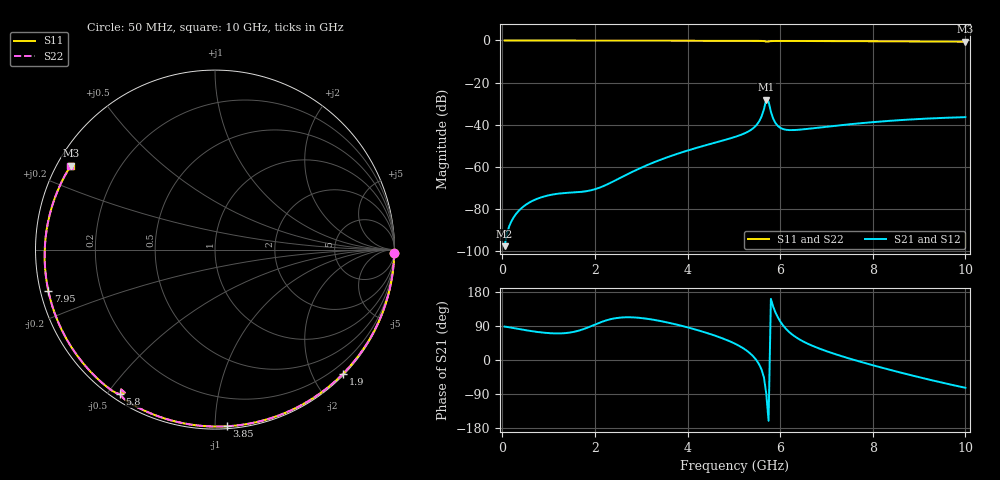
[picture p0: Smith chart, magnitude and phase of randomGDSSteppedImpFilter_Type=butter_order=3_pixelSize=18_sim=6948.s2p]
! freq	dB(S11)	phase(S11)	dB(S12)	phase(S12)
!  dB(S21)	phase(S21)	dB(S22)	phase(S22)
!S-par simulation data
#  GHz  S  DB  R 50
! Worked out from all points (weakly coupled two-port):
!   200 points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, 50 MHz to 10 GHz, reference 50 ohm
!   highest |S21| = -28.09 dB at 5.7 GHz (marker M1); lowest = -97.6 dB at 50 MHz (marker M2)
!   lowest |S11| = -0.6 dB at 10 GHz (marker M3), VSWR 27.59, Z = 1.94 + j13.4 ohm
!   |S11| at or under -10 dB: nowhere
!   |S22| runs from -0.6 to 0.0 dB; largest |S21 - S12| = 0
!   S11 on the Smith chart (normalised r, x): 50 MHz: open; 1.9 GHz: 0.02, -2.47; 3.85 GHz: 0.01, -1.07; 5.8 GHz: 0.02, -0.54; 7.95 GHz: 0.02, -0.12; 10 GHz: 0.04, +0.27
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0.05  -0.01 -1.1  -97.63 88.2  -97.63 88.2  -0.01 -1.1
0.4  -0.02 -9.4  -79.87 80.8  -79.87 80.8  -0.02 -9.4
0.65  -0.02 -15.3  -76.15 75.9  -76.15 75.9  -0.02 -15.3
1  -0.03 -23.5  -73.50 71.0  -73.50 71.0  -0.03 -23.5
1.75  -0.05 -40.7  -71.74 81.3  -71.74 81.3  -0.05 -40.7
1.9  -0.06 -44.1  -71.19 88.4  -71.19 88.4  -0.06 -44.1
3.4  -0.10 -76.7  -56.75 103.2  -56.75 103.2  -0.10 -76.7
3.85  -0.12 -86.1  -53.29 90.9  -53.29 90.9  -0.12 -86.0
5.05  -0.17 -110.2  -45.60 41.5  -45.60 41.5  -0.17 -110.1
5.35  -0.19 -116.2  -42.73 17.6  -42.73 17.6  -0.19 -116.1
5.5  -0.20 -119.3  -39.87 -2.7  -39.87 -2.7  -0.20 -119.2
5.6  -0.24 -121.6  -36.01 -25.6  -36.01 -25.6  -0.24 -121.5
5.7  -0.56 -123.9  -28.09 -88.9  -28.09 -88.9  -0.56 -123.8
5.75  -0.52 -122.2  -29.04 -160.4  -29.04 -160.4  -0.52 -122.2
5.8  -0.32 -123.3  -33.82 161.4  -33.82 161.4  -0.32 -123.2
5.9  -0.24 -125.8  -39.22 125.1  -39.22 125.1  -0.24 -125.7
6.05  -0.24 -128.9  -41.95 93.3  -41.95 93.3  -0.24 -128.9
6.7  -0.27 -141.6  -41.70 37.3  -41.70 37.3  -0.27 -141.5
7.95  -0.38 -166.0  -38.86 -12.1  -38.86 -12.1  -0.38 -165.9
8.35  -0.43 -174.0  -38.17 -25.3  -38.17 -25.3  -0.43 -173.9
9.2  -0.53 168.1  -37.05 -51.3  -37.05 -51.3  -0.53 168.2
10  -0.63 149.9  -36.39 -73.4  -36.39 -73.4  -0.63 150.0
